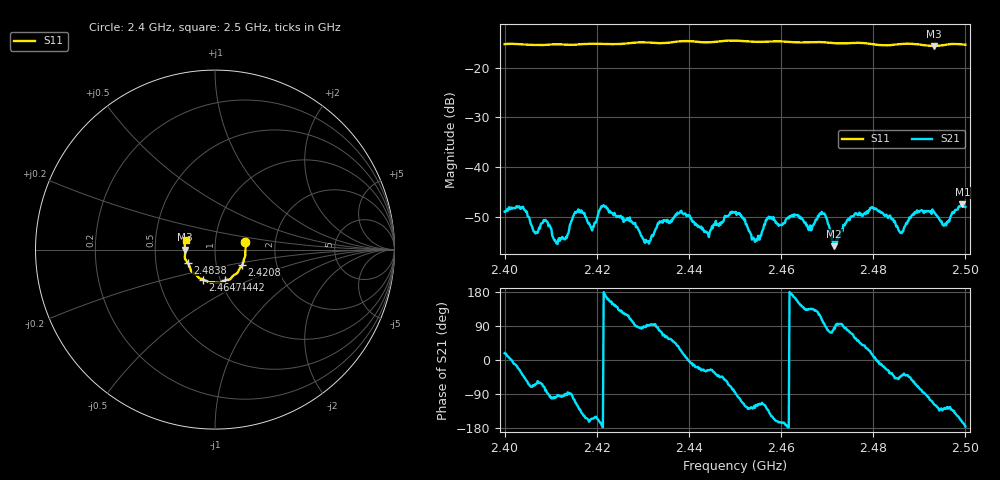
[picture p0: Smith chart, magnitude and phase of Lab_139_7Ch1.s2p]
# Hz S RI R 50
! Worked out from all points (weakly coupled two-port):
!   601 points, 2.4 GHz to 2.5 GHz, reference 50 ohm
!   highest |S21| = -47.50 dB at 2.4993 GHz (marker M1); lowest = -55.9 dB at 2.4715 GHz (marker M2)
!   lowest |S11| = -15.6 dB at 2.4932 GHz (marker M3), VSWR 1.40, Z = 35.8 - j0.0817 ohm
!   |S11| at or under -10 dB: start of sweep to end of sweep
!   S12 and S22 are empty: the file has one direction only
!   S11 on the Smith chart (normalised r, x): 2.4 GHz: 1.40, +0.12; 2.4208 GHz: 1.33, -0.24; 2.4442 GHz: 1.05, -0.37; 2.4647 GHz: 0.83, -0.29; 2.4838 GHz: 0.73, -0.11; 2.5 GHz: 0.72, +0.08
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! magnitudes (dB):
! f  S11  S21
! 2.4 GHz  -15.2  -49.0
! 2.4112 GHz  -15.3  -55.3
! 2.4167 GHz  -15.2  -48.7
! 2.419 GHz  -15.2  -52.8
! 2.4208 GHz  -15.2  -48.3
! 2.4308 GHz  -14.9  -55.0
! 2.4333 GHz  -15.0  -51.3
! 2.4387 GHz  -14.6  -49.4
! 2.4442 GHz  -14.9  -53.5
! 2.45 GHz  -14.5  -49.0
! 2.4543 GHz  -14.8  -55.0
! 2.4573 GHz  -14.7  -50.0
! 2.4647 GHz  -14.9  -50.5
! 2.4667 GHz  -14.8  -52.5
! 2.4692 GHz  -14.9  -49.4
! 2.4715 GHz  -15.0  -55.9
! 2.476 GHz  -15.0  -49.4
! 2.4833 GHz  -15.5  -50.2
! 2.4838 GHz  -15.4  -50.2
! 2.4932 GHz  -15.6  -48.9
! 2.4993 GHz  -15.3  -47.5
! 2.5 GHz  -15.3  -48.0
